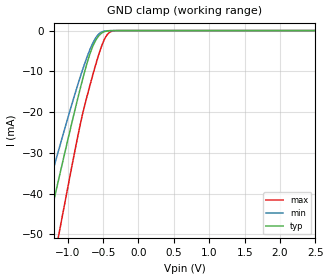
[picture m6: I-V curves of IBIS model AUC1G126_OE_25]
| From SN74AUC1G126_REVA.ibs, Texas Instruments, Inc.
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[Model]   AUC1G126_OE_25
Model_type  Input
Vinl=0.7
Vinh=1.7
| variable   typ   min   max
C_comp   2.28pF   1.87pF   2.76pF
[Temperature Range]   40   100   -40
| Ambient temperature   25   85   -40
[Voltage range]   2.5   2.3   2.7
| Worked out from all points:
|   GND clamp passes 1 mA (typ) near -0.55 V on its own axis
[GND Clamp]
| AUC1G126_OE_25
|   Voltage   I(typ)   I(min)   I(max)
-3.6V     -230.2mA   -193.8mA   -275.4mA
-1.465V   -62.46mA   -50.68mA   -81.32mA
-1.41V    -58.19mA   -47.14mA   -76.26mA
-1.3V     -49.69mA   -40.13mA   -66.14mA
-1.11V    -35.19mA   -28.25mA   -48.67mA
-845mV    -15.76mA   -12.61mA   -24.92mA
-720mV    -7.623mA   -6.181mA   -15.69mA
-625mV    -3.09mA    -2.403mA   -9.633mA
-515mV    -559.5uA   -308.9uA   -3.552mA
-430mV    -73.2uA    -35.77uA   -776.9uA
-325mV    -3.339uA   -2.035uA   -30.74uA
2.5V      313.9pA    402pA      470.4pA
